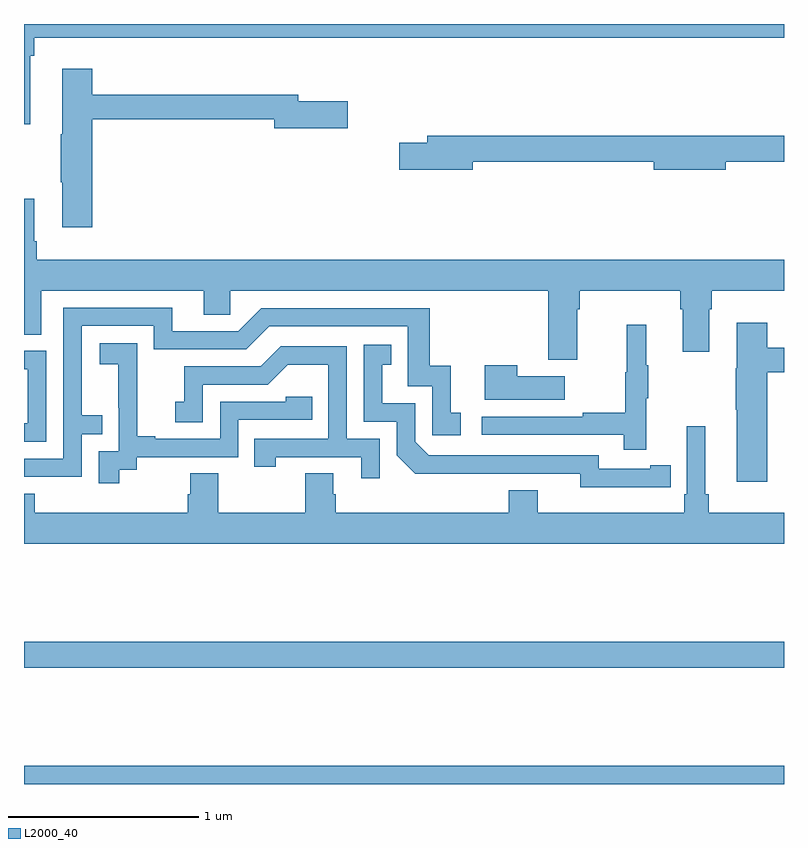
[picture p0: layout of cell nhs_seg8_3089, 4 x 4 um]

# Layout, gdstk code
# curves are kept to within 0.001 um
import gdstk
lib = gdstk.Library(unit=1e-6, precision=1e-09)
def R(c, l, rs):  # rectangles x0, y0, x1, y1
    for r in rs: c.add(gdstk.rectangle(r[:2], r[2:], *l))
def P(c, l, *ps):  # polygons
    for p in ps: c.add(gdstk.Polygon(p, *l))
L2000_40 = (2000, 40)

nhs_seg8_3089 = lib.new_cell('nhs_seg8_3089')
R(nhs_seg8_3089, L2000_40, [(303,1117.9,307,1117.996), (303,1118.512,307,1118.648)])
P(nhs_seg8_3089, L2000_40, [(303.034,1121.732),(303.053,1121.732),(303.053,1121.828),(307,1121.828),(307,1121.9),(303,1121.9),(303,1121.373),(303.034,1121.373)],
  [(303.359,1121.398),(304.316,1121.398),(304.316,1121.351),(304.705,1121.351),(304.705,1121.493),(304.444,1121.493),(304.444,1121.527),(303.359,1121.527),(303.359,1121.665),(303.2,1121.665),(303.2,1121.321),(303.193,1121.321),(303.193,1121.068),(303.2,1121.068),(303.2,1120.83),(303.359,1120.83)],
  [(305.362,1121.176),(306.314,1121.176),(306.314,1121.134),(306.694,1121.134),(306.694,1121.176),(307,1121.176),(307,1121.312),(305.123,1121.312),(305.123,1121.276),(304.974,1121.276),(304.974,1121.134),(305.362,1121.134)],
  [(305.911,1120.4),(305.924,1120.4),(305.924,1120.496),(306.455,1120.496),(306.455,1120.4),(306.467,1120.4),(306.467,1120.176),(306.607,1120.176),(306.607,1120.4),(306.62,1120.4),(306.62,1120.496),(307,1120.496),(307,1120.66),(303.068,1120.66),(303.068,1120.756),(303.055,1120.756),(303.055,1120.981),(303,1120.981),(303,1120.264),(303.091,1120.264),(303.091,1120.496),(303.947,1120.496),(303.947,1120.369),(304.086,1120.369),(304.086,1120.496),(305.759,1120.496),(305.759,1120.134),(305.911,1120.134)],
  [(303.303,1119.741),(303.413,1119.741),(303.413,1119.842),(303.303,1119.842),(303.303,1120.311),(303.684,1120.311),(303.684,1120.188),(304.17,1120.188),(304.29,1120.308),(305.019,1120.308),(305.019,1119.993),(305.148,1119.993),(305.148,1119.735),(305.299,1119.735),(305.299,1119.855),(305.246,1119.855),(305.246,1120.102),(305.135,1120.102),(305.135,1120.404),(304.248,1120.404),(304.128,1120.284),(303.781,1120.284),(303.781,1120.407),(303.207,1120.407),(303.207,1119.612),(303,1119.612),(303,1119.516),(303.303,1119.516)],
  [(306.911,1120.066),(307,1120.066),(307,1120.195),(306.911,1120.195),(306.911,1120.327),(306.752,1120.327),(306.752,1120.089),(306.745,1120.089),(306.745,1119.871),(306.752,1119.871),(306.752,1119.492),(306.911,1119.492)],
  [(306.275,1119.931),(306.286,1119.931),(306.286,1120.105),(306.275,1120.105),(306.275,1120.318),(306.172,1120.318),(306.172,1120.068),(306.165,1120.068),(306.165,1119.854),(305.941,1119.854),(305.941,1119.834),(305.409,1119.834),(305.409,1119.738),(306.157,1119.738),(306.157,1119.66),(306.275,1119.66)],
  [(303.502,1119.553),(303.594,1119.553),(303.594,1119.621),(304.128,1119.621),(304.128,1119.816),(304.517,1119.816),(304.517,1119.939),(304.377,1119.939),(304.377,1119.912),(304.032,1119.912),(304.032,1119.717),(303.691,1119.717),(303.691,1119.73),(303.596,1119.73),(303.596,1120.013),(303.597,1120.013),(303.597,1120.219),(303.399,1120.219),(303.399,1120.109),(303.497,1120.109),(303.497,1119.881),(303.498,1119.881),(303.498,1119.651),(303.393,1119.651),(303.393,1119.483),(303.502,1119.483)],
  [(306.296,1119.462),(306.404,1119.462),(306.404,1119.578),(306.296,1119.578),(306.296,1119.558),(306.024,1119.558),(306.024,1119.63),(305.13,1119.63),(305.058,1119.702),(305.058,1119.903),(304.885,1119.903),(304.885,1120.107),(304.934,1120.107),(304.934,1120.213),(304.788,1120.213),(304.788,1119.807),(304.962,1119.807),(304.962,1119.63),(305.06,1119.533),(305.928,1119.534),(305.928,1119.461)],
  [(304.872,1119.717),(304.698,1119.717),(304.698,1120.203),(304.352,1120.203),(304.247,1120.098),(303.844,1120.098),(303.844,1119.913),(303.795,1119.913),(303.795,1119.804),(303.942,1119.804),(303.942,1120.002),(304.284,1120.002),(304.388,1120.106),(304.602,1120.106),(304.602,1119.717),(304.213,1119.717),(304.213,1119.57),(304.324,1119.57),(304.324,1119.621),(304.775,1119.621),(304.775,1119.51),(304.872,1119.51)],
  [(303.117,1120.179),(303,1120.179),(303,1120.083),(303.021,1120.083),(303.021,1119.798),(303,1119.798),(303,1119.702),(303.117,1119.702)],
  [(305.845,1120.045),(305.597,1120.045),(305.597,1120.105),(305.426,1120.105),(305.426,1119.923),(305.845,1119.923)],
  [(307,1119.328),(306.605,1119.328),(306.605,1119.424),(306.586,1119.424),(306.586,1119.784),(306.489,1119.784),(306.489,1119.424),(306.476,1119.424),(306.476,1119.328),(305.704,1119.328),(305.704,1119.445),(305.552,1119.445),(305.552,1119.328),(304.64,1119.328),(304.64,1119.426),(304.627,1119.426),(304.627,1119.536),(304.48,1119.536),(304.48,1119.328),(304.023,1119.328),(304.023,1119.536),(303.875,1119.536),(303.875,1119.426),(303.863,1119.426),(303.863,1119.328),(303.056,1119.328),(303.056,1119.427),(303,1119.427),(303,1119.164),(307,1119.164)])

lib.write_gds('nhs_seg8_3089.gds')
